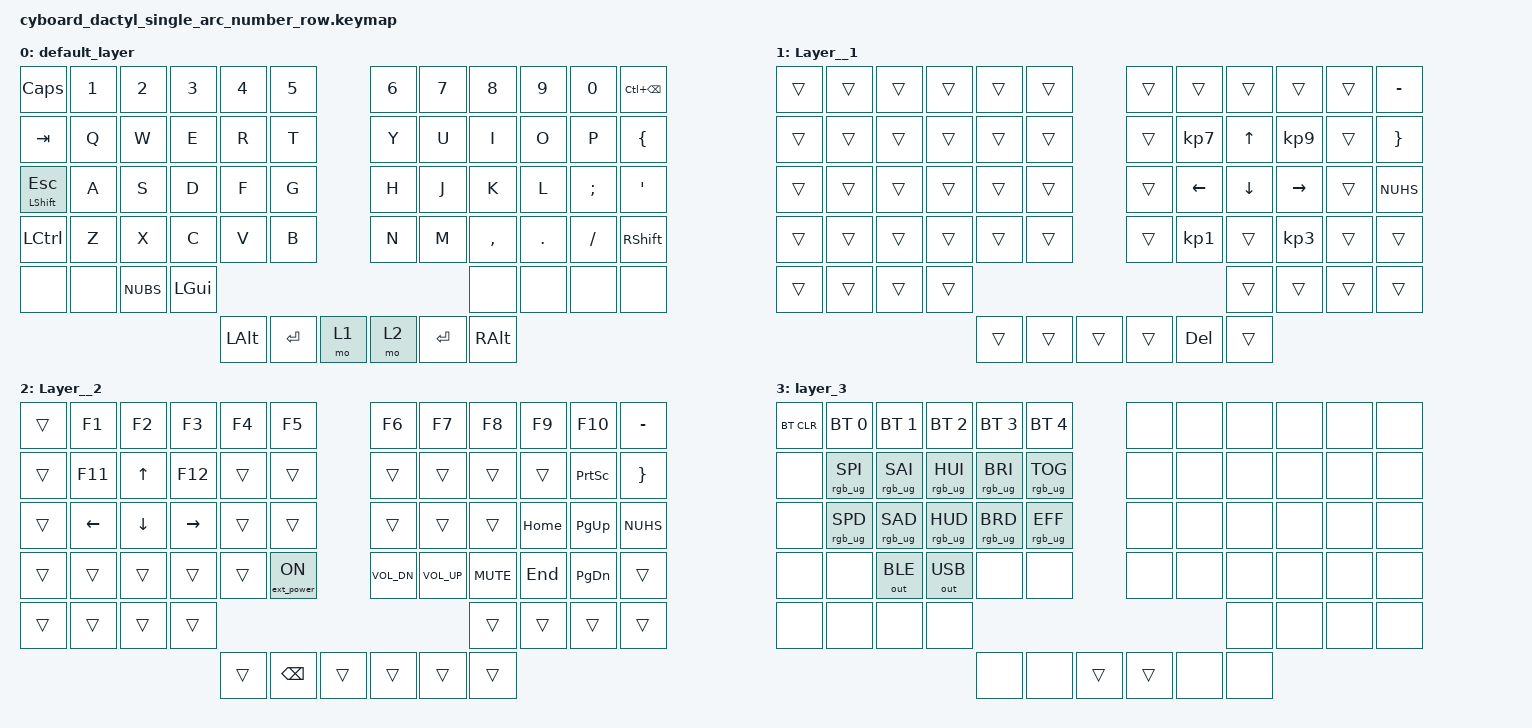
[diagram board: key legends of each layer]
#include <behaviors.dtsi>
#include <dt-bindings/zmk/bt.h>
#include <dt-bindings/zmk/keys.h>
#include <dt-bindings/zmk/outputs.h>
#include <dt-bindings/zmk/rgb.h>
#include <dt-bindings/zmk/ext_power.h>

#define DEFAULT 0
#define LOWER   1
#define RAISE   2
#define ADJUST  3

/ {
    conditional_layers {
        compatible = "zmk,conditional-layers";
        tri_layer {
            if-layers = <LOWER RAISE>;
            then-layer = <ADJUST>;
        };
    };
    keymap {
        compatible = "zmk,keymap";

//[_QWERTY] = LAYOUT(
        default_layer {
            bindings = <
&kp CAPS      &kp N1  &kp N2    &kp N3    &kp N4    &kp N5                  &kp N6  &kp N7    &kp N8    &kp N9   &kp N0   &kp LC(BSPC)
&kp TAB       &kp Q   &kp W     &kp E     &kp R     &kp T                   &kp Y   &kp U     &kp I     &kp O    &kp P    &kp LBRC
&mt LSHFT ESC &kp A   &kp S     &kp D     &kp F     &kp G                   &kp H   &kp J     &kp K     &kp L    &kp SEMI &kp SQT
&kp LCTRL     &kp Z   &kp X     &kp C     &kp V     &kp B                   &kp N   &kp M     &kp COMMA &kp DOT  &kp FSLH &kp RSHFT
&none         &none   &kp NUBS  &kp LGUI                                                      &none     &none    &none    &none
                                          &kp LALT  &kp ENTER  &mo 1  &mo 2 &kp RET &kp RALT
            >;
        };

//[_LOWER] = LAYOUT(
        Layer__1 {
            bindings = <
&trans  &trans  &trans  &trans  &trans  &trans               &trans   &trans     &trans   &trans     &trans &kp MINUS
&trans  &trans  &trans  &trans  &trans  &trans               &trans   &kp KP_N7  &kp UP   &kp KP_N9  &trans &kp RBRC
&trans  &trans  &trans  &trans  &trans  &trans               &trans   &kp LEFT   &kp DOWN &kp RIGHT  &trans &kp NUHS
&trans  &trans  &trans  &trans  &trans  &trans               &trans   &kp KP_N1  &trans   &kp KP_N3  &trans &trans
&trans  &trans  &trans  &trans                                                   &trans   &trans     &trans &trans
                                &trans  &trans &trans &trans &kp DEL  &trans
            >;
        };

//[_RAISE] = LAYOUT(
        Layer__2 {
            bindings = <
&trans  &kp F1    &kp F2    &kp F3    &kp F4  &kp F5                    &kp F6        &kp F7        &kp F8      &kp F9    &kp F10   &kp MINUS
&trans  &kp F11   &kp UP    &kp F12   &trans  &trans                    &trans        &trans        &trans      &trans    &kp PSCRN &kp RBRC
&trans  &kp LEFT  &kp DOWN  &kp RIGHT &trans  &trans                    &trans        &trans        &trans      &kp HOME  &kp PG_UP &kp NUHS
&trans  &trans    &trans    &trans    &trans  &ext_power EP_ON          &kp C_VOL_DN  &kp C_VOL_UP  &kp C_MUTE  &kp END   &kp PG_DN &trans
&trans  &trans    &trans    &trans                                                                  &trans      &trans    &trans    &trans
                                      &trans  &kp BSPC  &trans  &trans  &trans        &trans
            >;
        };

//[_ADJUST] = LAYOUT(
        layer_3 {
            bindings = <
&bt BT_CLR  &bt BT_SEL 0    &bt BT_SEL 1    &bt BT_SEL 2    &bt BT_SEL 3    &bt BT_SEL 4                    &none &none &none &none &none &none
&none       &rgb_ug RGB_SPI &rgb_ug RGB_SAI &rgb_ug RGB_HUI &rgb_ug RGB_BRI &rgb_ug RGB_TOG                 &none &none &none &none &none &none
&none       &rgb_ug RGB_SPD &rgb_ug RGB_SAD &rgb_ug RGB_HUD &rgb_ug RGB_BRD &rgb_ug RGB_EFF                 &none &none &none &none &none &none
&none       &none           &out OUT_BLE    &out OUT_USB    &none           &none                           &none &none &none &none &none &none
&none       &none           &none           &none                                                                       &none &none &none &none
                                                            &none           &none           &trans  &trans  &none &none
            >;
        };
    };
};

// vim: nowrap syntax=c
